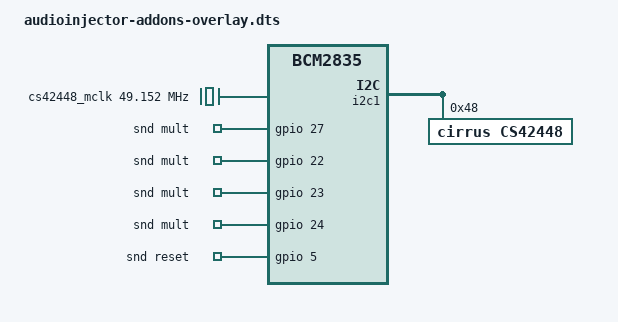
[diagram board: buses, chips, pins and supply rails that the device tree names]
// Definitions for audioinjector.net audio add on soundcard
/dts-v1/;
/plugin/;

/ {
	compatible = "brcm,bcm2835";

	fragment@0 {
		target = <&i2s_clk_producer>;
		__overlay__ {
			status = "okay";
		};
	};

	fragment@1 {
		target-path = "/";
		__overlay__ {
			cs42448_mclk: codec-mclk {
				compatible = "fixed-clock";
				#clock-cells = <0>;
				clock-frequency = <49152000>;
			};
		};
	};

	fragment@2 {
		target = <&i2c1>;
		__overlay__ {
			#address-cells = <1>;
			#size-cells = <0>;
			status = "okay";

			cs42448: cs42448@48 {
				#sound-dai-cells = <0>;
				compatible = "cirrus,cs42448";
				reg = <0x48>;
				clocks = <&cs42448_mclk>;
				clock-names = "mclk";
				status = "okay";
			};
		};
	};

	fragment@3 {
		target = <&sound>;
		snd: __overlay__ {
			compatible = "ai,audioinjector-octo-soundcard";
			mult-gpios = <&gpio 27 0>, <&gpio 22 0>, <&gpio 23 0>,
				     <&gpio 24 0>;
			reset-gpios = <&gpio 5 0>;
			i2s-controller = <&i2s_clk_producer>;
			codec = <&cs42448>;
			status = "okay";
		};
	};

	__overrides__ {
		non-stop-clocks = <&snd>, "non-stop-clocks?";
	};
};
